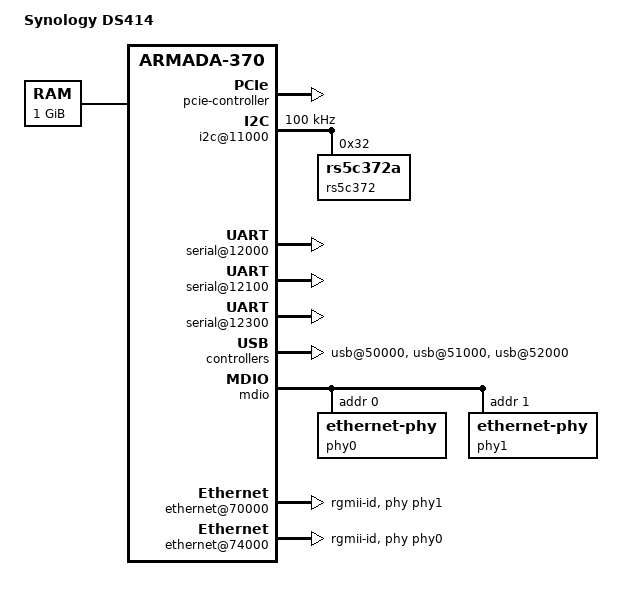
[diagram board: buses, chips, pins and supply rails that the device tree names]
/*
 * Device Tree file for Synology DS414
 *
 * Copyright (C) 2014, Arnaud EBALARD <arno@natisbad.org>
 *
 * This file is dual-licensed: you can use it either under the terms
 * of the GPL or the X11 license, at your option. Note that this dual
 * licensing only applies to this file, and not this project as a
 * whole.
 *
 *  a) This file is free software; you can redistribute it and/or
 *     modify it under the terms of the GNU General Public License as
 *     published by the Free Software Foundation; either version 2 of the
 *     License, or (at your option) any later version.
 *
 *     This file is distributed in the hope that it will be useful
 *     but WITHOUT ANY WARRANTY; without even the implied warranty of
 *     MERCHANTABILITY or FITNESS FOR A PARTICULAR PURPOSE.  See the
 *     GNU General Public License for more details.
 *
 * Or, alternatively
 *
 *  b) Permission is hereby granted, free of charge, to any person
 *     obtaining a copy of this software and associated documentation
 *     files (the "Software"), to deal in the Software without
 *     restriction, including without limitation the rights to use
 *     copy, modify, merge, publish, distribute, sublicense, and/or
 *     sell copies of the Software, and to permit persons to whom the
 *     Software is furnished to do so, subject to the following
 *     conditions:
 *
 *     The above copyright notice and this permission notice shall be
 *     included in all copies or substantial portions of the Software.
 *
 *     THE SOFTWARE IS PROVIDED , WITHOUT WARRANTY OF ANY KIND
 *     EXPRESS OR IMPLIED, INCLUDING BUT NOT LIMITED TO THE WARRANTIES
 *     OF MERCHANTABILITY, FITNESS FOR A PARTICULAR PURPOSE AND
 *     NONINFRINGEMENT. IN NO EVENT SHALL THE AUTHORS OR COPYRIGHT
 *     HOLDERS BE LIABLE FOR ANY CLAIM, DAMAGES OR OTHER LIABILITY
 *     WHETHER IN AN ACTION OF CONTRACT, TORT OR OTHERWISE, ARISING
 *     FROM, OUT OF OR IN CONNECTION WITH THE SOFTWARE OR THE USE OR
 *     OTHER DEALINGS IN THE SOFTWARE.
 *
 * Note: this Device Tree assumes that the bootloader has remapped the
 * internal registers to 0xf1000000 (instead of the old 0xd0000000).
 * The 0xf1000000 is the default used by the recent, DT-capable, U-Boot
 * bootloaders provided by Marvell. It is used in recent versions of
 * DSM software provided by Synology. Nonetheless, some earlier boards
 * were delivered with an older version of u-boot that left internal
 * registers mapped at 0xd0000000. If you have such a device you will
 * not be able to directly boot a kernel based on this Device Tree. In
 * that case, the preferred solution is to update your bootloader (e.g.
 * by upgrading to latest version of DSM, or building a new one and
 * installing it from u-boot prompt) or adjust the Devive Tree
 * (s/0xf1000000/0xd0000000/ in 'ranges' below).
 */

/dts-v1/;

#include <dt-bindings/input/input.h>
#include <dt-bindings/gpio/gpio.h>
#include "armada-xp-mv78230.dtsi"

/ {
	model = "Synology DS414";
	compatible = "synology,ds414", "marvell,armadaxp-mv78230",
		     "marvell,armadaxp", "marvell,armada-370-xp";

	chosen {
		stdout-path = "serial0:115200n8";
	};

	memory {
		device_type = "memory";
		reg = <0 0x00000000 0 0x40000000>; /* 1GB */
	};

	soc {
		ranges = <MBUS_ID(0xf0, 0x01) 0 0 0xf1000000 0x100000
			  MBUS_ID(0x01, 0x1d) 0 0 0xfff00000 0x100000
			  MBUS_ID(0x09, 0x09) 0 0 0xf1100000 0x10000
			  MBUS_ID(0x09, 0x05) 0 0 0xf1110000 0x10000>;

		pcie-controller {
			status = "okay";

			pcie@1,0 {
				/* Port 0, Lane 0 */
				status = "okay";
			};

			pcie@5,0 {
				/* Port 1, Lane 0 */
				status = "okay";
			};
		};

		internal-regs {

			rtc@10300 {
				status = "disabled";
			};

			i2c@11000 {
				status = "okay";
				clock-frequency = <100000>; //maybe 400000

				rs5c372: rs5c372@32 {
					compatible = "rs5c372a";
					reg = <0x32>;
				};
			};

			serial@12000 {
				status = "okay";
			};

			serial@12100 {
				status = "okay";
			};
			
			serial@12100 {
				status = "okay";
			};

			serial@12300 {
				status = "okay";
			};

			usb@50000 {
				status = "okay";
			};

                        usb@51000 {
                                status = "okay";
                        };

                        usb@52000 {
                                status = "okay";
                        };

			mdio {
				phy0: ethernet-phy@0 { /* Marvell 88E1512 */
					reg = <0>;
				};

				phy1: ethernet-phy@1 { /* Marvell 88E1512 */
					reg = <1>;
				};
			};

			ethernet@70000 {
				status = "okay";
				pinctrl-0 = <&ge0_rgmii_pins>;
				pinctrl-names = "default";
				phy = <&phy1>;
				phy-mode = "rgmii-id";
			};

			ethernet@74000 {
				pinctrl-0 = <&ge1_rgmii_pins>;
				pinctrl-names = "default";
				status = "okay";
				phy = <&phy0>;
				phy-mode = "rgmii-id";
			};
		};
	};

};

&pinctrl {
	sata1_pwr_pin: sata1-pwr-pin {
		marvell,pins = "mpp42";
		marvell,function = "gpio";
	};

	sata2_pwr_pin: sata2-pwr-pin {
		marvell,pins = "mpp44";
		marvell,function = "gpio";
	};

	sata3_pwr_pin: sata3-pwr-pin {
		marvell,pins = "mpp45";
		marvell,function = "gpio";
	};

	sata4_pwr_pin: sata4-pwr-pin {
		marvell,pins = "mpp46";
		marvell,function = "gpio";
	};

	sata1_pres_pin: sata1-pres-pin {
		marvell,pins = "mpp34";
		marvell,function = "gpio";
	};

	sata2_pres_pin: sata2-pres-pin {
		marvell,pins = "mpp35";
		marvell,function = "gpio";
	};

	sata3_pres_pin: sata3-pres-pin {
		marvell,pins = "mpp40";
		marvell,function = "gpio";
	};

	sata4_pres_pin: sata4-pres-pin {
		marvell,pins = "mpp41";
		marvell,function = "gpio";
	};

	syno_id_bit0_pin: syno-id-bit0-pin {
		marvell,pins = "mpp26";
		marvell,function = "gpio";
	};

	syno_id_bit1_pin: syno-id-bit1-pin {
		marvell,pins = "mpp28";
		marvell,function = "gpio";
	};

	syno_id_bit2_pin: syno-id-bit2-pin {
		marvell,pins = "mpp29";
		marvell,function = "gpio";
	};

	fan1_alarm_pin: fan1-alarm-pin {
		marvell,pins = "mpp33";
		marvell,function = "gpio";
	};

	fan2_alarm_pin: fan2-alarm-pin {
		marvell,pins = "mpp32";
		marvell,function = "gpio";
	};
};

